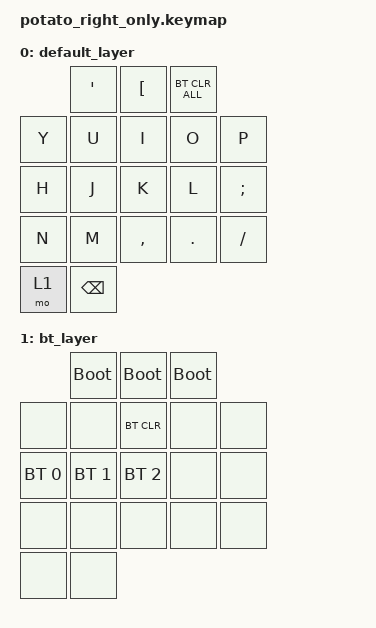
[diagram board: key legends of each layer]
#include <behaviors.dtsi>
#include <dt-bindings/zmk/keys.h>
#include <dt-bindings/zmk/bt.h>

/ {
    keymap {
        compatible = "zmk,keymap";

        default_layer {
            bindings = <
                            &kp SQT     &kp LBKT    &bt BT_CLR_ALL
                &kp Y       &kp U       &kp I       &kp O       &kp P
                &kp H       &kp J       &kp K       &kp L       &kp SEMI
                &kp N       &kp M       &kp COMMA   &kp DOT     &kp FSLH
                &mo 1       &kp BSPC
            >;
        };

        bt_layer {
            bindings = <
                                &bootloader     &bootloader     &bootloader
                &none           &none           &bt BT_CLR      &none           &none
                &bt BT_SEL 0    &bt BT_SEL 1    &bt BT_SEL 2    &none           &none
                &none           &none           &none           &none           &none
                &none           &none
            >;
        };
    };
};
